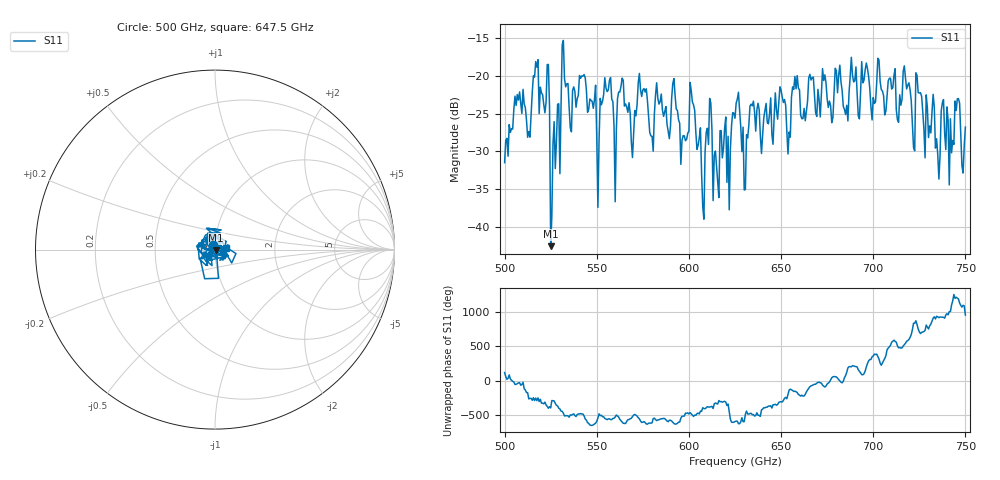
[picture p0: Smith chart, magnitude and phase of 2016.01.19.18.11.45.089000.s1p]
!Created with skrf (http://scikit-rf.org).
# GHz S RI R 50.0
!freq ReS11 ImS11
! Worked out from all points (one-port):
!   401 points, 500 GHz to 750 GHz, reference 50 ohm
!   lowest |S11| = -42.6 dB at 525 GHz (marker M1), VSWR 1.01, Z = 50.6 - j0.404 ohm
!   |S11| at or under -10 dB: start of sweep to end of sweep
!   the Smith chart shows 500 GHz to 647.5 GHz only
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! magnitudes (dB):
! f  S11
! 500 GHz  -31.5
! 506.9 GHz  -22.5
! 513.1 GHz  -27.4
! 516.9 GHz  -18.1
! 523.1 GHz  -18.5
! 525 GHz  -42.6
! 526.2 GHz  -29.0
! 531.2 GHz  -15.9
! 542.5 GHz  -20.0
! 551.2 GHz  -28.5
! 562.5 GHz  -22.1
! 570 GHz  -27.6
! 573.8 GHz  -21.9
! 579.4 GHz  -28.0
! 593.8 GHz  -24.6
! 601.9 GHz  -23.4
! 608.1 GHz  -39.0
! 610.6 GHz  -29.1
! 614.4 GHz  -30.0
! 625 GHz  -25.6
! 630 GHz  -35.1
! 634.4 GHz  -24.0
! 656.2 GHz  -21.5
! 687.5 GHz  -20.1
! 718.8 GHz  -21.2
! 735 GHz  -30.4
! 745.6 GHz  -23.0
! 750 GHz  -26.8
